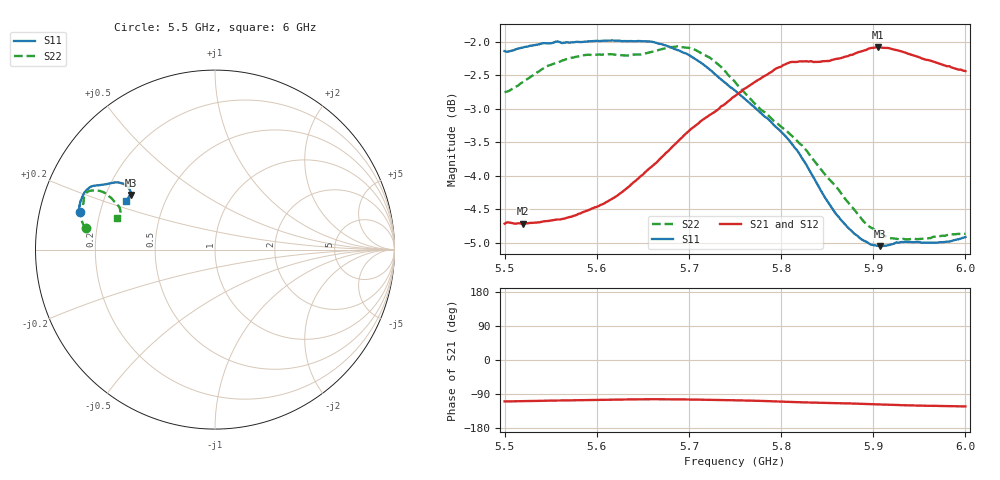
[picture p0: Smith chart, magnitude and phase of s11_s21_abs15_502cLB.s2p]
! MS46122B
! 1919307/90821646
! 7/29/2022 1:09:27 PM
! C:\USERS\PC_\DESKTOP\MEDICIONES\BANCHA ESTRECHA\55_6GHZ\S11_S21_ABS15_502CL.S2P
! CHANNEL.1
! TR.MEASUREMENT
! CORRECTED.DATA
# GHZ S RI R 50.0
! FREQ.GHZ  S11RE  S11IM  S21RE  S21IM  S12RE  S12IM  S22RE  S22IM
!; PortSelection: Port_12
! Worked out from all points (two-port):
!   201 points, 5.5 GHz to 6 GHz, reference 50 ohm
!   highest |S21| = -2.08 dB at 5.905 GHz (marker M1); lowest = -4.7 dB at 5.52 GHz (marker M2)
!   |S21| within 3 dB of the highest: start of sweep to end of sweep
!   lowest |S11| = -5.1 dB at 5.907 GHz (marker M3), VSWR 3.53, Z = 15.3 + j13.5 ohm
!   |S11| at or under -10 dB: nowhere
!   |S22| runs from -5.0 to -2.1 dB; largest |S21 - S12| = 0.015
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5.5  -0.753 0.2104  -0.1921 -0.5482  -0.1877 -0.549  -0.7188 0.1183
5.52  -0.7554 0.2202  -0.1849 -0.5506  -0.1778 -0.5492  -0.7296 0.1319
5.5475  -0.7556 0.239  -0.174 -0.5571  -0.1642 -0.5576  -0.7441 0.167
5.585  -0.7522 0.2554  -0.1625 -0.5698  -0.1521 -0.573  -0.7472 0.2103
5.6275  -0.7445 0.2797  -0.1508 -0.5946  -0.1421 -0.5981  -0.738 0.2406
5.6675  -0.723 0.3229  -0.1527 -0.6301  -0.1433 -0.6342  -0.7312 0.2815
5.705  -0.6881 0.3517  -0.1706 -0.6643  -0.1654 -0.6692  -0.7178 0.3165
5.7225  -0.6683 0.3569  -0.182 -0.6764  -0.1787 -0.6809  -0.7008 0.3268
5.75  -0.6353 0.3607  -0.2049 -0.6941  -0.2013 -0.6967  -0.664 0.33
5.7725  -0.6077 0.3642  -0.2249 -0.7072  -0.218 -0.71  -0.635 0.3244
5.7975  -0.5732 0.372  -0.2544 -0.7165  -0.2506 -0.7193  -0.6126 0.315
5.82  -0.5377 0.374  -0.2813 -0.7149  -0.2768 -0.7164  -0.5949 0.3015
5.835  -0.5112 0.3673  -0.295 -0.7084  -0.2899 -0.7087  -0.5802 0.2897
5.85  -0.4899 0.3536  -0.3066 -0.7047  -0.2999 -0.7044  -0.5663 0.2751
5.865  -0.4772 0.3379  -0.317 -0.7045  -0.3074 -0.7055  -0.5539 0.2609
5.89  -0.4679 0.3151  -0.34 -0.7048  -0.3359 -0.7035  -0.5329 0.2361
5.905  -0.4683 0.3055  -0.3586 -0.7008  -0.353 -0.6975  -0.5276 0.2222
5.9075  -0.4689 0.304  -0.361 -0.6994  -0.3555 -0.6958  -0.5276 0.2195
5.9175  -0.4723 0.3011  -0.3702 -0.6931  -0.3644 -0.6889  -0.527 0.2083
5.935  -0.4775 0.2984  -0.3836 -0.6789  -0.3775 -0.6722  -0.5319 0.1921
5.96  -0.4802 0.2924  -0.3954 -0.6606  -0.3826 -0.6541  -0.5394 0.1734
6  -0.4974 0.2735  -0.4061 -0.637  -0.3923 -0.6388  -0.5436 0.1743
